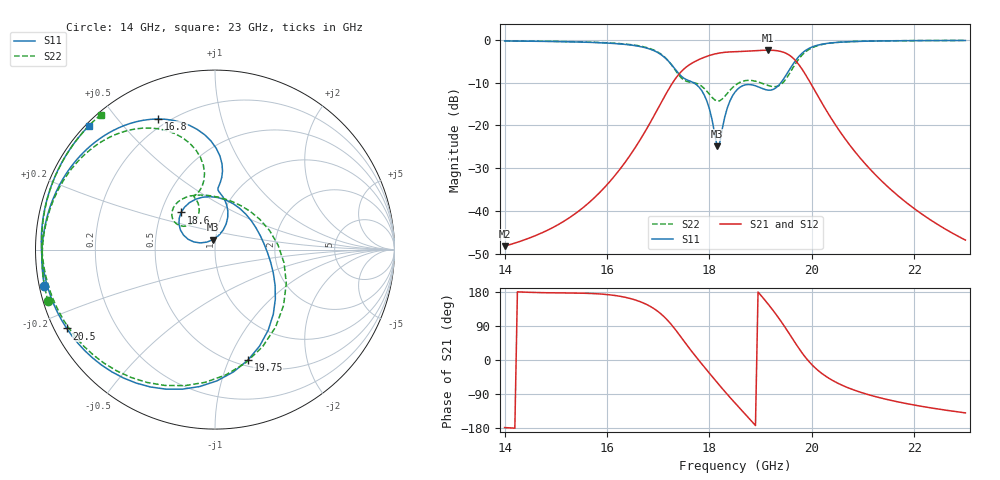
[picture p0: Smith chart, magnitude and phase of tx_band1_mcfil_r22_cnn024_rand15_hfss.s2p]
! Touchstone file exported from HFSS 3D Layout Design 2026.1.0
!  File:  D:/Work/SIM/ADS_AUTO_SIM/projects/RFSOC_RF/TX_Fillter.aedt
!  Generated:  01:34:22 AM Aug 31, 2026
!  Design:  TX_BAND1_MCFIL_R22_CNN024
!  Project:  TX_Fillter
# GHz S MA R 50.000000
! Terminal data exported
! Port[1] = Port1
! Port[2] = Port2
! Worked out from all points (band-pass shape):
!   181 points, 14 GHz to 23 GHz, reference 50 ohm
!   highest |S21| = -2.41 dB at 19.15 GHz (marker M1); lowest = -48.2 dB at 14 GHz (marker M2)
!   |S21| within 3 dB of the highest: 17.66 GHz to 19.72 GHz (2.057 GHz wide, 11 % of centre)
!   lowest |S11| = -24.9 dB at 18.15 GHz (marker M3), VSWR 1.12, Z = 48.7 + j5.47 ohm
!   |S11| at or under -10 dB: 17.69 GHz to 19.4 GHz (1.712 GHz wide, 9.23 % of centre)
!   |S22| runs from -14.3 to -0.1 dB; largest |S21 - S12| = 1.3e-14
!   S11 on the Smith chart (normalised r, x): 14 GHz: 0.01, -0.10; 16.8 GHz: 0.16, +0.64; 18.6 GHz: 0.63, +0.28; 19.75 GHz: 0.56, -1.18; 20.5 GHz: 0.04, -0.25; 23 GHz: 0.01, +0.41
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14  0.9718 -168.1  0.003869 -178.3  0.003869 -178.3  0.9738 -162.8
15.5  0.9428 160.6  0.01053 176.3  0.01053 176.3  0.9477 167.2
16.25  0.8975 138.2  0.03059 168.2  0.03059 168.2  0.9059 146.3
16.8  0.7941 113.6  0.09678 144.7  0.09678 144.7  0.8055 123.4
17  0.7061 101.5  0.1592 127.5  0.1592 127.5  0.7161 112.2
17.25  0.522 87.0  0.294 94.6  0.294 94.6  0.5204 99.0
17.5  0.357 86.5  0.4554 50.5  0.4554 50.5  0.3395 104.6
17.7  0.3131 84.3  0.5518 14.9  0.5518 14.9  0.3158 111.6
17.9  0.2263 71.6  0.626 -18.5  0.626 -18.5  0.2702 110.0
18.15  0.0569 100.3  0.6942 -59.2  0.6942 -59.2  0.1927 127.1
18.5  0.2453 144.9  0.7281 -113.5  0.7281 -113.5  0.2933 143.8
18.6  0.2803 132.3  0.7318 -128.3  0.7318 -128.3  0.3199 138.4
18.9  0.2906 86.9  0.748 -172.9  0.748 -172.9  0.3288 114.8
19.15  0.2583 38.2  0.758 147.1  0.758 147.1  0.2927 86.8
19.45  0.3498 -21.8  0.7162 92.0  0.7162 92.0  0.3221 19.2
19.6  0.4852 -48.0  0.6376 61.1  0.6376 61.1  0.4391 -25.2
19.75  0.6427 -73.5  0.5112 30.3  0.5112 30.3  0.6025 -63.9
20  0.8242 -109.4  0.2944 -12.0  0.2944 -12.0  0.8065 -110.2
20.25  0.9017 -134.4  0.1618 -40.8  0.1618 -40.8  0.8965 -139.0
20.5  0.9356 -152.0  0.0937 -60.7  0.0937 -60.7  0.9354 -157.9
21.5  0.9748 167.9  0.01877 -105.1  0.01877 -105.1  0.9766 161.7
23  0.9846 135.4  0.00456 -139.6  0.00456 -139.6  0.9851 130.2
